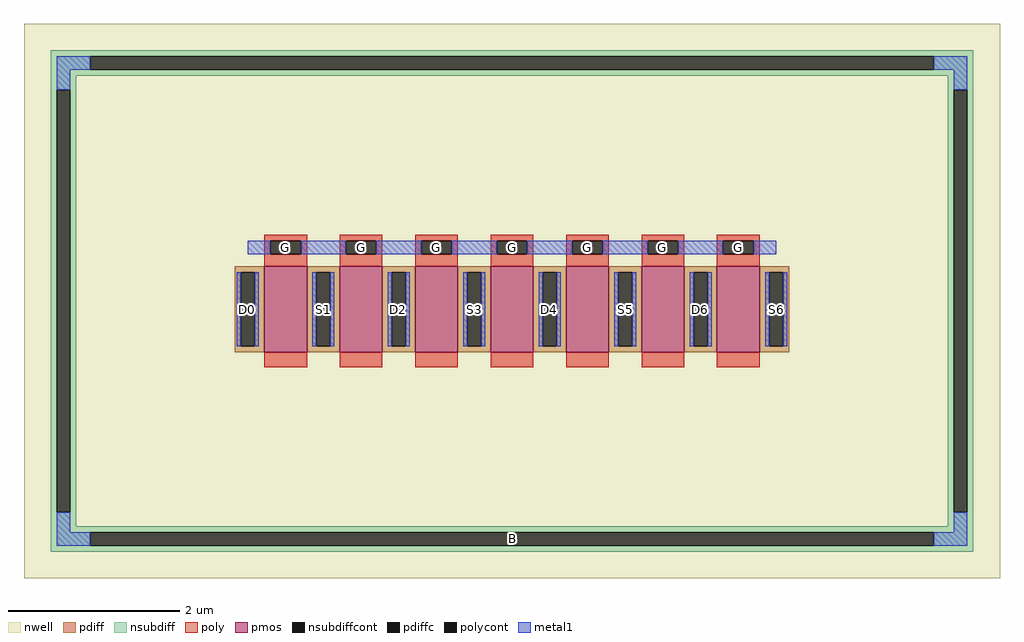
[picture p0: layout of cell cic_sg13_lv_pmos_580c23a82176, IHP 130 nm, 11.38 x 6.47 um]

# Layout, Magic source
magic
tech ihp-sg13cmos5l
magscale 1 2
<< nwell >>
rect -1138 -647 1138 647
<< pmos >>
rect -578 -119 -478 81
rect -402 -119 -302 81
rect -226 -119 -126 81
rect -50 -119 50 81
rect 126 -119 226 81
rect 302 -119 402 81
rect 478 -119 578 81
<< pdiff >>
rect -646 67 -578 81
rect -646 -105 -632 67
rect -600 -105 -578 67
rect -646 -119 -578 -105
rect -478 67 -402 81
rect -478 -105 -456 67
rect -424 -105 -402 67
rect -478 -119 -402 -105
rect -302 67 -226 81
rect -302 -105 -280 67
rect -248 -105 -226 67
rect -302 -119 -226 -105
rect -126 67 -50 81
rect -126 -105 -104 67
rect -72 -105 -50 67
rect -126 -119 -50 -105
rect 50 67 126 81
rect 50 -105 72 67
rect 104 -105 126 67
rect 50 -119 126 -105
rect 226 67 302 81
rect 226 -105 248 67
rect 280 -105 302 67
rect 226 -119 302 -105
rect 402 67 478 81
rect 402 -105 424 67
rect 456 -105 478 67
rect 402 -119 478 -105
rect 578 67 646 81
rect 578 -105 600 67
rect 632 -105 646 67
rect 578 -119 646 -105
<< pdiffc >>
rect -632 -105 -600 67
rect -456 -105 -424 67
rect -280 -105 -248 67
rect -104 -105 -72 67
rect 72 -105 104 67
rect 248 -105 280 67
rect 424 -105 456 67
rect 600 -105 632 67
<< nsubdiff >>
rect -1076 571 1076 585
rect -1076 539 -984 571
rect 984 539 1076 571
rect -1076 525 1076 539
rect -1076 493 -1016 525
rect -1076 -493 -1062 493
rect -1030 -493 -1016 493
rect 1016 493 1076 525
rect -1076 -525 -1016 -493
rect 1016 -493 1030 493
rect 1062 -493 1076 493
rect 1016 -525 1076 -493
rect -1076 -539 1076 -525
rect -1076 -571 -984 -539
rect 984 -571 1076 -539
rect -1076 -585 1076 -571
<< nsubdiffcont >>
rect -984 539 984 571
rect -1062 -493 -1030 493
rect 1030 -493 1062 493
rect -984 -571 984 -539
<< poly >>
rect -578 141 -478 155
rect -578 109 -564 141
rect -492 109 -478 141
rect -578 81 -478 109
rect -402 141 -302 155
rect -402 109 -388 141
rect -316 109 -302 141
rect -402 81 -302 109
rect -226 141 -126 155
rect -226 109 -212 141
rect -140 109 -126 141
rect -226 81 -126 109
rect -50 141 50 155
rect -50 109 -36 141
rect 36 109 50 141
rect -50 81 50 109
rect 126 141 226 155
rect 126 109 140 141
rect 212 109 226 141
rect 126 81 226 109
rect 302 141 402 155
rect 302 109 316 141
rect 388 109 402 141
rect 302 81 402 109
rect 478 141 578 155
rect 478 109 492 141
rect 564 109 578 141
rect 478 81 578 109
rect -578 -155 -478 -119
rect -402 -155 -302 -119
rect -226 -155 -126 -119
rect -50 -155 50 -119
rect 126 -155 226 -119
rect 302 -155 402 -119
rect 478 -155 578 -119
<< polycont >>
rect -564 109 -492 141
rect -388 109 -316 141
rect -212 109 -140 141
rect -36 109 36 141
rect 140 109 212 141
rect 316 109 388 141
rect 492 109 564 141
<< metal1 >>
rect -1062 539 -984 571
rect 984 539 1062 571
rect -1062 493 -1030 539
rect 1030 493 1062 539
rect -616 109 -564 141
rect -492 109 -388 141
rect -316 109 -212 141
rect -140 109 -36 141
rect 36 109 140 141
rect 212 109 316 141
rect 388 109 492 141
rect 564 109 616 141
rect -642 -105 -632 67
rect -600 -105 -590 67
rect -466 -105 -456 67
rect -424 -105 -414 67
rect -290 -105 -280 67
rect -248 -105 -238 67
rect -114 -105 -104 67
rect -72 -105 -62 67
rect 62 -105 72 67
rect 104 -105 114 67
rect 238 -105 248 67
rect 280 -105 290 67
rect 414 -105 424 67
rect 456 -105 466 67
rect 590 -105 600 67
rect 632 -105 642 67
rect -1062 -539 -1030 -493
rect 1030 -539 1062 -493
rect -1062 -571 -984 -539
rect 984 -571 1062 -539
<< labels >>
rlabel nsubdiffcont 0 -555 0 -555 0 B
port 1 nsew
rlabel pdiffc -616 -19 -616 -19 0 D0
port 2 nsew
rlabel polycont -528 125 -528 125 0 G
port 3 nsew
rlabel pdiffc -440 -19 -440 -19 0 S1
port 4 nsew
rlabel polycont -352 125 -352 125 0 G
port 3 nsew
rlabel pdiffc -264 -19 -264 -19 0 D2
port 5 nsew
rlabel polycont -176 125 -176 125 0 G
port 3 nsew
rlabel pdiffc -88 -19 -88 -19 0 S3
port 6 nsew
rlabel polycont 0 125 0 125 0 G
port 3 nsew
rlabel pdiffc 88 -19 88 -19 0 D4
port 7 nsew
rlabel polycont 176 125 176 125 0 G
port 3 nsew
rlabel pdiffc 264 -19 264 -19 0 S5
port 8 nsew
rlabel polycont 352 125 352 125 0 G
port 3 nsew
rlabel pdiffc 440 -19 440 -19 0 D6
port 9 nsew
rlabel pdiffc 616 -19 616 -19 0 S6
port 10 nsew
rlabel polycont 528 125 528 125 0 G
port 3 nsew
<< properties >>
string FIXED_BBOX -1046 -555 1046 555
string gencell sg13_lv_pmos
string library sg13cmos5l
string parameters w 1.0 l 0.5 m 1 ng 7 diffcov 100 polycov 100 guard 1 glc 1 grc 1 gtc 1 gbc 1 tbcov 100 rlcov 100 topc 1 botc 0 poverlap 0 doverlap 1 lmin 0.13 wmin 0.15 class mosfet compatible {sg13_lv_pmos sg13_hv_pmos} full_metal 1 conn_gates 1 gate_ring 0 ccols 1 viasrc 0 viadrn 0 viagate 0 viagb 0 viagr 0 viagl 0 viagt 0 doports 1 set_x_to_guard 2.0 set_y_to_guard 2.0
<< end >>
